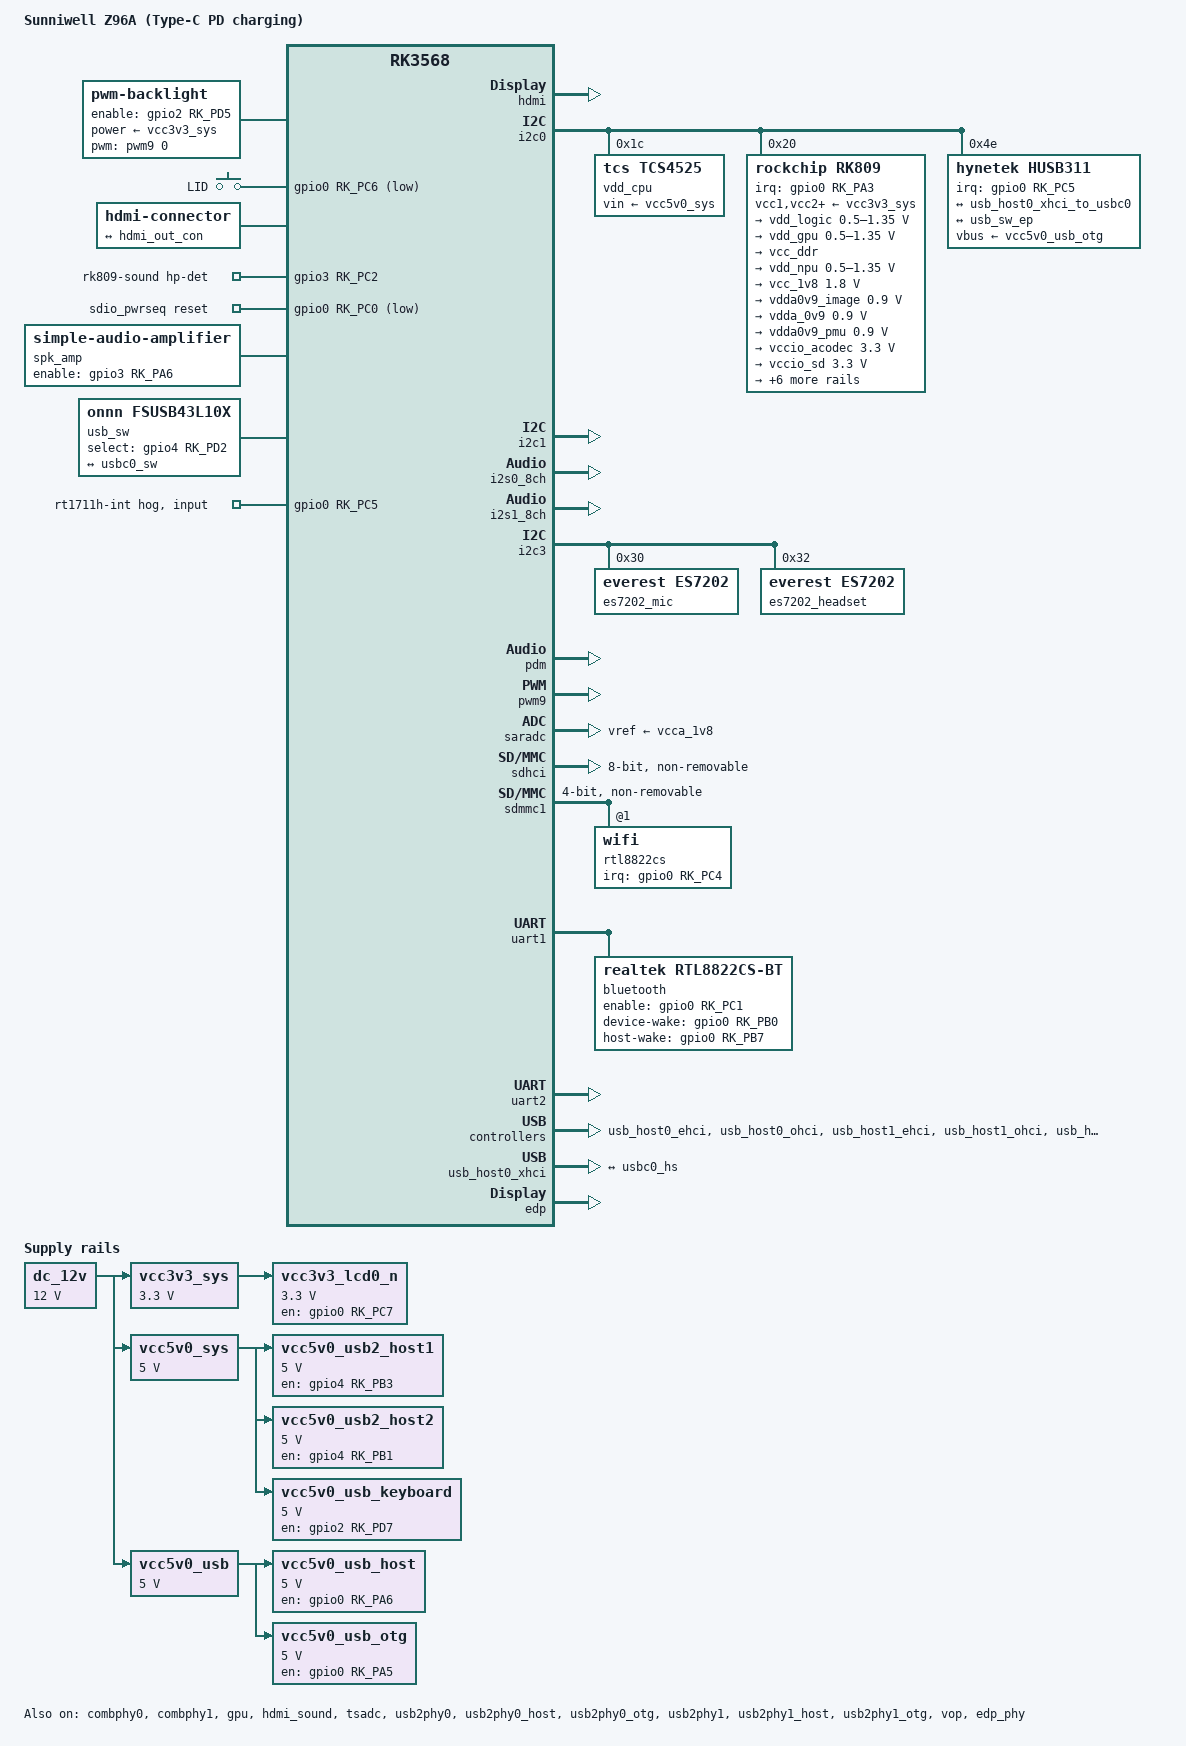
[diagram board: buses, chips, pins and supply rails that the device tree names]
// SPDX-License-Identifier: (GPL-2.0+ OR MIT)
// Copyright (c) 2026 Jun Yan <jerrysteve1101@gmail.com>

/dts-v1/;

#include <dt-bindings/gpio/gpio.h>
#include <dt-bindings/input/gpio-keys.h>
#include <dt-bindings/input/linux-event-codes.h>
#include <dt-bindings/phy/phy.h>
#include <dt-bindings/pinctrl/rockchip.h>
#include <dt-bindings/soc/rockchip,vop2.h>
#include <dt-bindings/usb/pd.h>
#include "rk3568.dtsi"

/ {
	model = "Sunniwell Z96A (Type-C PD charging)";
	compatible = "sunniwell,z96a-pd", "rockchip,rk3568";

	aliases {
		mmc0 = &sdhci;
		mmc1 = &sdmmc1;
		serial0 = &uart2;
	};

	backlight: backlight {
		compatible = "pwm-backlight";
		brightness-levels = <20 220>;
		default-brightness-level = <200>;
		enable-gpios = <&gpio2 RK_PD5 GPIO_ACTIVE_HIGH>;
		num-interpolated-steps = <200>;
		power-supply = <&vcc3v3_sys>;
		pwms = <&pwm9 0 25000 0>;
	};

	chosen: chosen {
		stdout-path = "serial2:1500000n8";
	};

	dc_12v: regulator-dc-12v {
		compatible = "regulator-fixed";
		regulator-name = "dc_12v";
		regulator-always-on;
		regulator-boot-on;
		regulator-min-microvolt = <12000000>;
		regulator-max-microvolt = <12000000>;
	};

	gpio_keys_hall: gpio-keys-hall {
		compatible = "gpio-keys";
		pinctrl-names = "default";
		pinctrl-0 = <&hall_int_l>;

		lid-switch {
			gpios = <&gpio0 RK_PC6 GPIO_ACTIVE_LOW>;
			label = "LID";
			linux,code = <SW_LID>;
			linux,input-type = <EV_SW>;
			wakeup-event-action = <EV_ACT_DEASSERTED>;
			wakeup-source;
		};
	};

	hdmi-con {
		compatible = "hdmi-connector";
		type = "a";

		port {
			hdmi_con_in: endpoint {
				remote-endpoint = <&hdmi_out_con>;
			};
		};
	};

	rk809-sound {
		compatible = "simple-audio-card";
		pinctrl-names = "default";
		pinctrl-0 = <&hp_det>;
		simple-audio-card,aux-devs = <&spk_amp>;
		simple-audio-card,format = "i2s";
		simple-audio-card,hp-det-gpios = <&gpio3 RK_PC2 GPIO_ACTIVE_HIGH>;
		simple-audio-card,mclk-fs = <256>;
		simple-audio-card,name = "Analog RK809";
		simple-audio-card,routing =
			"Headphones", "HPOL",
			"Headphones", "HPOR",
			"Speaker Amp INL", "HPOL",
			"Speaker Amp INR", "HPOR",
			"Internal Speakers", "Speaker Amp OUTL",
			"Internal Speakers", "Speaker Amp OUTR";
		simple-audio-card,widgets =
			"Headphone", "Headphones",
			"Speaker", "Internal Speakers";

		simple-audio-card,cpu {
			sound-dai = <&i2s1_8ch>;
		};
		simple-audio-card,codec {
			sound-dai = <&rk809>;
		};
	};

	es7202_sound: es7202-sound {
		compatible = "simple-audio-card";
		simple-audio-card,name = "ES7202";
		simple-audio-card,format = "pdm";
		simple-audio-card,mclk-fs = <256>;

		simple-audio-card,cpu {
			sound-dai = <&pdm>;
		};
		simple-audio-card,codec {
			sound-dai = <&es7202_mic>;
		};
	};

	sdio_pwrseq: sdio-pwrseq {
		compatible = "mmc-pwrseq-simple";
		clocks = <&rk809 1>;
		clock-names = "ext_clock";
		pinctrl-names = "default";
		pinctrl-0 = <&wifi_enable_h>;
		post-power-on-delay-ms = <100>;
		power-off-delay-us = <5000000>;
		reset-gpios = <&gpio0 RK_PC0 GPIO_ACTIVE_LOW>;
	};

	spk_amp: speaker-amplifier {
		compatible = "simple-audio-amplifier";
		enable-gpios = <&gpio3 RK_PA6 GPIO_ACTIVE_HIGH>;
		pinctrl-names = "default";
		pinctrl-0 = <&spk_amp_en>;
		sound-name-prefix = "Speaker Amp";
	};

	vcc3v3_lcd0_n: regulator-vcc3v3-lcd0-n {
		compatible = "regulator-fixed";
		enable-active-high;
		gpio = <&gpio0 RK_PC7 GPIO_ACTIVE_HIGH>;
		pinctrl-names = "default";
		pinctrl-0 = <&vcc3v3_lcd0_n_en>;
		regulator-name = "vcc3v3_lcd0_n";
		regulator-boot-on;
		regulator-min-microvolt = <3300000>;
		regulator-max-microvolt = <3300000>;
		vin-supply = <&vcc3v3_sys>;

		regulator-state-mem {
			regulator-off-in-suspend;
		};
	};

	vcc3v3_sys: regulator-vcc3v3-sys {
		compatible = "regulator-fixed";
		regulator-name = "vcc3v3_sys";
		regulator-always-on;
		regulator-boot-on;
		regulator-min-microvolt = <3300000>;
		regulator-max-microvolt = <3300000>;
		vin-supply = <&dc_12v>;
	};

	vcc5v0_sys: regulator-vcc5v0-sys {
		compatible = "regulator-fixed";
		regulator-name = "vcc5v0_sys";
		regulator-always-on;
		regulator-boot-on;
		regulator-min-microvolt = <5000000>;
		regulator-max-microvolt = <5000000>;
		vin-supply = <&dc_12v>;
	};

	vcc5v0_usb: regulator-vcc5v0-usb {
		compatible = "regulator-fixed";
		regulator-name = "vcc5v0_usb";
		regulator-always-on;
		regulator-boot-on;
		regulator-min-microvolt = <5000000>;
		regulator-max-microvolt = <5000000>;
		vin-supply = <&dc_12v>;
	};

	vcc5v0_usb_host: regulator-vcc5v0-usb-host {
		compatible = "regulator-fixed";
		enable-active-high;
		gpio = <&gpio0 RK_PA6 GPIO_ACTIVE_HIGH>;
		pinctrl-names = "default";
		pinctrl-0 = <&vcc5v0_usb_host_en>;
		regulator-name = "vcc5v0_usb_host";
		regulator-min-microvolt = <5000000>;
		regulator-max-microvolt = <5000000>;
		vin-supply = <&vcc5v0_usb>;
	};

	vcc5v0_usb_otg: regulator-vcc5v0-usb-otg {
		compatible = "regulator-fixed";
		enable-active-high;
		gpio = <&gpio0 RK_PA5 GPIO_ACTIVE_HIGH>;
		pinctrl-names = "default";
		pinctrl-0 = <&vcc5v0_usb_otg_en>;
		regulator-name = "vcc5v0_usb_otg";
		regulator-min-microvolt = <5000000>;
		regulator-max-microvolt = <5000000>;
		vin-supply = <&vcc5v0_usb>;
	};

	vcc5v0_usb2_host1: regulator-vcc5v0-usb2-host1 {
		compatible = "regulator-fixed";
		enable-active-high;
		gpio = <&gpio4 RK_PB3 GPIO_ACTIVE_HIGH>;
		pinctrl-names = "default";
		pinctrl-0 = <&vcc5v0_usb2_host1_en>;
		regulator-name = "vcc5v0_usb2_host1";
		regulator-always-on;
		regulator-boot-on;
		regulator-min-microvolt = <5000000>;
		regulator-max-microvolt = <5000000>;
		vin-supply = <&vcc5v0_sys>;
	};

	vcc5v0_usb2_host2: regulator-vcc5v0-usb2-host2 {
		compatible = "regulator-fixed";
		enable-active-high;
		gpio = <&gpio4 RK_PB1 GPIO_ACTIVE_HIGH>;
		pinctrl-names = "default";
		pinctrl-0 = <&vcc5v0_usb2_host2_en>;
		regulator-name = "vcc5v0_usb2_host2";
		regulator-always-on;
		regulator-boot-on;
		regulator-min-microvolt = <5000000>;
		regulator-max-microvolt = <5000000>;
		vin-supply = <&vcc5v0_sys>;
	};

	vcc5v0_usb_keyboard: regulator-vcc5v0-usb-keyboard {
		compatible = "regulator-fixed";
		enable-active-high;
		gpio = <&gpio2 RK_PD7 GPIO_ACTIVE_HIGH>;
		pinctrl-names = "default";
		pinctrl-0 = <&vcc5v0_usb_keyboard_en>;
		regulator-name = "vcc5v0_usb_keyboard";
		regulator-always-on;
		regulator-boot-on;
		regulator-min-microvolt = <5000000>;
		regulator-max-microvolt = <5000000>;
		vin-supply = <&vcc5v0_sys>;
	};

	/*
	 * USB 3.1 SuperSpeed signal switch (ON Semi FSUSB43L10X) between the
	 * Type-C connector and the USB3 controller. Its select input (GPIO4_D2)
	 * is driven by the tcpm as an orientation switch: the SS lanes are
	 * swapped depending on which way the plug is inserted.
	 */
	usb_sw: usb-switch {
		compatible = "onnn,fsusb43l10x", "gpio-sbu-mux";
		select-gpios = <&gpio4 RK_PD2 GPIO_ACTIVE_HIGH>;
		orientation-switch;

		port {
			usb_sw_ep: endpoint {
				remote-endpoint = <&usbc0_sw>;
			};
		};
	};
};

&combphy0 {
	status = "okay";
};

&combphy1 {
	status = "okay";
};

&cpu0 {
	cpu-supply = <&vdd_cpu>;
};

&cpu1 {
	cpu-supply = <&vdd_cpu>;
};

&cpu2 {
	cpu-supply = <&vdd_cpu>;
};

&cpu3 {
	cpu-supply = <&vdd_cpu>;
};

&gpu {
	mali-supply = <&vdd_gpu>;

	status = "okay";
};

/*
 * RKNPU @ fde40000: no mainline driver for RK3568, not enabled.
 */

&hdmi {
	avdd-0v9-supply = <&vdda0v9_image>;
	avdd-1v8-supply = <&vcca1v8_image>;

	status = "okay";
};

&hdmi_in {
	hdmi_in_vp0: endpoint {
		remote-endpoint = <&vp0_out_hdmi>;
	};
};

&hdmi_out {
	hdmi_out_con: endpoint {
		remote-endpoint = <&hdmi_con_in>;
	};
};

&hdmi_sound {
	status = "okay";
};

&i2c0 {
	status = "okay";

	vdd_cpu: regulator@1c {
		compatible = "tcs,tcs4525";
		reg = <0x1c>;
		fcs,suspend-voltage-selector = <1>;
		regulator-name = "vdd_cpu";
		regulator-always-on;
		regulator-boot-on;
		regulator-min-microvolt = <712500>;
		regulator-max-microvolt = <1387500>;
		regulator-ramp-delay = <2300>;
		vin-supply = <&vcc5v0_sys>;

		regulator-state-mem {
			regulator-off-in-suspend;
		};
	};

	rk809: pmic@20 {
		compatible = "rockchip,rk809";
		reg = <0x20>;
		interrupt-parent = <&gpio0>;
		interrupts = <RK_PA3 IRQ_TYPE_LEVEL_LOW>;
		assigned-clocks = <&cru I2S1_MCLKOUT_TX>;
		assigned-clock-parents = <&cru CLK_I2S1_8CH_TX>;
		#clock-cells = <1>;
		clock-names = "mclk";
		clocks = <&cru I2S1_MCLKOUT_TX>;
		pinctrl-names = "default";
		pinctrl-0 = <&pmic_int>, <&i2s1m0_mclk>;
		system-power-controller;
		#sound-dai-cells = <0>;
		vcc1-supply = <&vcc3v3_sys>;
		vcc2-supply = <&vcc3v3_sys>;
		vcc3-supply = <&vcc3v3_sys>;
		vcc4-supply = <&vcc3v3_sys>;
		vcc5-supply = <&vcc3v3_sys>;
		vcc6-supply = <&vcc3v3_sys>;
		vcc7-supply = <&vcc3v3_sys>;
		vcc8-supply = <&vcc3v3_sys>;
		vcc9-supply = <&vcc3v3_sys>;
		wakeup-source;

		regulators {
			vdd_logic: DCDC_REG1 {
				regulator-name = "vdd_logic";
				regulator-always-on;
				regulator-boot-on;
				regulator-initial-mode = <0x2>;
				regulator-min-microvolt = <500000>;
				regulator-max-microvolt = <1350000>;
				regulator-ramp-delay = <6001>;

				regulator-state-mem {
					regulator-off-in-suspend;
				};
			};

			vdd_gpu: DCDC_REG2 {
				regulator-name = "vdd_gpu";
				regulator-always-on;
				regulator-boot-on;
				regulator-initial-mode = <0x2>;
				regulator-min-microvolt = <500000>;
				regulator-max-microvolt = <1350000>;
				regulator-ramp-delay = <6001>;

				regulator-state-mem {
					regulator-off-in-suspend;
				};
			};

			vcc_ddr: DCDC_REG3 {
				regulator-name = "vcc_ddr";
				regulator-always-on;
				regulator-boot-on;
				regulator-initial-mode = <0x2>;

				regulator-state-mem {
					regulator-on-in-suspend;
				};
			};

			vdd_npu: DCDC_REG4 {
				regulator-name = "vdd_npu";
				regulator-always-on;
				regulator-boot-on;
				regulator-initial-mode = <0x2>;
				regulator-min-microvolt = <500000>;
				regulator-max-microvolt = <1350000>;
				regulator-ramp-delay = <6001>;

				regulator-state-mem {
					regulator-off-in-suspend;
				};
			};

			vcc_1v8: DCDC_REG5 {
				regulator-name = "vcc_1v8";
				regulator-always-on;
				regulator-boot-on;
				regulator-min-microvolt = <1800000>;
				regulator-max-microvolt = <1800000>;

				regulator-state-mem {
					regulator-off-in-suspend;
				};
			};

			vdda0v9_image: LDO_REG1 {
				regulator-name = "vdda0v9_image";
				regulator-min-microvolt = <900000>;
				regulator-max-microvolt = <900000>;

				regulator-state-mem {
					regulator-off-in-suspend;
				};
			};

			vdda_0v9: LDO_REG2 {
				regulator-name = "vdda_0v9";
				regulator-always-on;
				regulator-boot-on;
				regulator-min-microvolt = <900000>;
				regulator-max-microvolt = <900000>;

				regulator-state-mem {
					regulator-off-in-suspend;
				};
			};

			vdda0v9_pmu: LDO_REG3 {
				regulator-name = "vdda0v9_pmu";
				regulator-always-on;
				regulator-boot-on;
				regulator-min-microvolt = <900000>;
				regulator-max-microvolt = <900000>;

				regulator-state-mem {
					regulator-on-in-suspend;
					regulator-suspend-microvolt = <900000>;
				};
			};

			vccio_acodec: LDO_REG4 {
				regulator-name = "vccio_acodec";
				regulator-always-on;
				regulator-boot-on;
				regulator-min-microvolt = <3300000>;
				regulator-max-microvolt = <3300000>;

				regulator-state-mem {
					regulator-off-in-suspend;
				};
			};

			vccio_sd: LDO_REG5 {
				regulator-name = "vccio_sd";
				regulator-always-on;
				regulator-boot-on;
				regulator-min-microvolt = <3300000>;
				regulator-max-microvolt = <3300000>;

				regulator-state-mem {
					regulator-off-in-suspend;
				};
			};

			vcc3v3_pmu: LDO_REG6 {
				regulator-name = "vcc3v3_pmu";
				regulator-always-on;
				regulator-boot-on;
				regulator-min-microvolt = <3300000>;
				regulator-max-microvolt = <3300000>;

				regulator-state-mem {
					regulator-on-in-suspend;
					regulator-suspend-microvolt = <3300000>;
				};
			};

			vcca_1v8: LDO_REG7 {
				regulator-name = "vcca_1v8";
				regulator-always-on;
				regulator-boot-on;
				regulator-min-microvolt = <1800000>;
				regulator-max-microvolt = <1800000>;

				regulator-state-mem {
					regulator-off-in-suspend;
				};
			};

			vcca1v8_pmu: LDO_REG8 {
				regulator-name = "vcca1v8_pmu";
				regulator-always-on;
				regulator-boot-on;
				regulator-min-microvolt = <1800000>;
				regulator-max-microvolt = <1800000>;

				regulator-state-mem {
					regulator-on-in-suspend;
					regulator-suspend-microvolt = <1800000>;
				};
			};

			vcca1v8_image: LDO_REG9 {
				regulator-name = "vcca1v8_image";
				regulator-min-microvolt = <1800000>;
				regulator-max-microvolt = <1800000>;

				regulator-state-mem {
					regulator-off-in-suspend;
				};
			};

			vcc_3v3: SWITCH_REG1 {
				regulator-name = "vcc_3v3";
				regulator-always-on;
				regulator-boot-on;

				regulator-state-mem {
					regulator-off-in-suspend;
				};
			};

			vcc3v3_sd: SWITCH_REG2 {
				regulator-name = "vcc3v3_sd";

				regulator-state-mem {
					regulator-off-in-suspend;
				};
			};
		};
	};

	husb311: typec@4e {
		compatible = "hynetek,husb311", "richtek,rt1711h";
		reg = <0x4e>;
		interrupt-parent = <&gpio0>;
		interrupts = <RK_PC5 IRQ_TYPE_LEVEL_LOW>;
		pinctrl-names = "default";
		pinctrl-0 = <&fusb0_int>;
		vbus-supply = <&vcc5v0_usb_otg>;

		usb_con: connector {
			compatible = "usb-c-connector";
			label = "USB-C";
			data-role = "dual";
			power-role = "dual";
			try-power-role = "source";
			source-pdos = <PDO_FIXED(5000, 2000, PDO_FIXED_DUAL_ROLE | PDO_FIXED_DATA_SWAP)>;
			sink-pdos = <PDO_FIXED(5000, 2000, PDO_FIXED_DUAL_ROLE | PDO_FIXED_DATA_SWAP)>;
			op-sink-microwatt = <10000000>;

			ports {
				#address-cells = <1>;
				#size-cells = <0>;

				port@0 {
					reg = <0>;
					usbc0_hs: endpoint {
						remote-endpoint = <&usb_host0_xhci_to_usbc0>;
					};
				};

				port@1 {
					reg = <1>;
					usbc0_sw: endpoint {
						remote-endpoint = <&usb_sw_ep>;
					};
				};
			};
		};
	};

	/*
	 * Southchip SC8886 battery charger @ 0x6b (I2C0): no mainline
	 * driver, not enabled (charging handled by vendor firmware only).
	 */
};

&i2c1 {
	status = "okay";
};

&i2s0_8ch {
	status = "okay";
};

&i2s1_8ch {
	rockchip,trcm-sync-tx-only;
	pinctrl-0 = <&i2s1m0_sclktx
		     &i2s1m0_lrcktx
		     &i2s1m0_sdi0
		     &i2s1m0_sdo0>;

	status = "okay";
};

&i2c3 {
	status = "okay";

	es7202_mic: codec@30 {
		compatible = "everest,es7202";
		reg = <0x30>;
		#sound-dai-cells = <0>;
	};

	es7202_headset: codec@32 {
		compatible = "everest,es7202";
		reg = <0x32>;
		#sound-dai-cells = <0>;
	};
};

&pdm {
	pinctrl-0 = <&pdmm0_clk1
		     &pdmm0_sdi1
		     &pdmm0_sdi3>;
	/* ES7202 mic is on sdi1 (channel 0), headset on sdi3 (channel 1) */
	rockchip,path-map = <1 3 0 2>;
	status = "okay";
};

&pinctrl {
	amp {
		spk_amp_en: spk-amp-en {
			rockchip,pins = <3 RK_PA6 RK_FUNC_GPIO &pcfg_pull_up>;
		};
	};

	display {
		vcc3v3_lcd0_n_en: vcc3v3-lcd0-n-en {
			rockchip,pins = <0 RK_PC7 RK_FUNC_GPIO &pcfg_pull_none>;
		};
	};

	hall-sensor {
		hall_int_l: hall-int-l {
			rockchip,pins = <0 RK_PC6 RK_FUNC_GPIO &pcfg_pull_up>;
		};
	};

	hp-detect {
		hp_det: hp-det {
			rockchip,pins = <3 RK_PC2 RK_FUNC_GPIO &pcfg_pull_none>;
		};
	};

	pmic {
		pmic_int: pmic-int {
			rockchip,pins = <0 RK_PA3 RK_FUNC_GPIO &pcfg_pull_up>;
		};
	};

	sdio-pwrseq {
		wifi_enable_h: wifi-enable-h {
			rockchip,pins = <0 RK_PC0 RK_FUNC_GPIO &pcfg_pull_none>;
		};
	};

	typec {
		fusb0_int: fusb0-int {
			rockchip,pins = <0 RK_PC5 RK_FUNC_GPIO &pcfg_pull_up>;
		};
	};

	usb {
		vcc5v0_usb_host_en: vcc5v0-usb-host-en {
			rockchip,pins = <0 RK_PA6 RK_FUNC_GPIO &pcfg_pull_none>;
		};
		vcc5v0_usb_otg_en: vcc5v0-usb-otg-en {
			rockchip,pins = <0 RK_PA5 RK_FUNC_GPIO &pcfg_pull_none>;
		};
		vcc5v0_usb2_host1_en: vcc5v0-usb2-host1-en {
			rockchip,pins = <4 RK_PB3 RK_FUNC_GPIO &pcfg_pull_none>;
		};
		vcc5v0_usb2_host2_en: vcc5v0-usb2-host2-en {
			rockchip,pins = <4 RK_PB1 RK_FUNC_GPIO &pcfg_pull_none>;
		};
		vcc5v0_usb_keyboard_en: vcc5v0-usb-keyboard-en {
			rockchip,pins = <2 RK_PD7 RK_FUNC_GPIO &pcfg_pull_none>;
		};
	};

	wireless-bluetooth {
		bt_enable_h: bt-enable-h {
			rockchip,pins = <0 RK_PC1 RK_FUNC_GPIO &pcfg_pull_none>;
		};
		bt_host_wake: bt-host-wake {
			rockchip,pins = <0 RK_PB7 RK_FUNC_GPIO &pcfg_pull_none>;
		};
		bt_wake: bt-wake {
			rockchip,pins = <0 RK_PB0 RK_FUNC_GPIO &pcfg_pull_none>;
		};
	};
};

&pmu_io_domains {
	pmuio2-supply = <&vcca1v8_pmu>;
	vccio1-supply = <&vccio_acodec>;
	vccio3-supply = <&vccio_sd>;
	vccio4-supply = <&vcca1v8_pmu>;
	vccio5-supply = <&vcc_1v8>;
	vccio6-supply = <&vcc_1v8>;
	vccio7-supply = <&vcc_3v3>;

	status = "okay";
};

&pwm9 {
	status = "okay";
};

&saradc {
	vref-supply = <&vcca_1v8>;

	status = "okay";
};

&sdhci {
	bus-width = <8>;
	max-frequency = <200000000>;
	non-removable;
	pinctrl-names = "default";
	pinctrl-0 = <&emmc_bus8 &emmc_clk &emmc_cmd &emmc_datastrobe>;

	status = "okay";
};

&sdmmc1 {
	#address-cells = <1>;
	#size-cells = <0>;
	bus-width = <4>;
	cap-sd-highspeed;
	cap-sdio-irq;
	disable-wp;
	keep-power-in-suspend;
	mmc-pwrseq = <&sdio_pwrseq>;
	non-removable;
	pinctrl-names = "default";
	pinctrl-0 = <&sdmmc1_bus4 &sdmmc1_clk &sdmmc1_cmd>;
	sd-uhs-sdr104;

	status = "okay";

	rtl8822cs: wifi@1 {
		reg = <1>;
		interrupt-parent = <&gpio0>;
		interrupts = <RK_PC4 IRQ_TYPE_LEVEL_HIGH>;
		interrupt-names = "host-wake";
	};
};

&tsadc {
	rockchip,hw-tshut-mode = <1>;
	rockchip,hw-tshut-polarity = <0>;

	status = "okay";
};

&uart1 {
	dma-names = "tx", "rx";
	pinctrl-names = "default";
	pinctrl-0 = <&uart1m0_xfer &uart1m0_ctsn &uart1m0_rtsn>;
	uart-has-rtscts;

	status = "okay";

	bluetooth {
		compatible = "realtek,rtl8822cs-bt";
		enable-gpios = <&gpio0 RK_PC1 GPIO_ACTIVE_HIGH>;
		device-wake-gpios = <&gpio0 RK_PB0 GPIO_ACTIVE_HIGH>;
		host-wake-gpios = <&gpio0 RK_PB7 GPIO_ACTIVE_HIGH>;
		pinctrl-names = "default";
		pinctrl-0 = <&bt_enable_h &bt_host_wake &bt_wake>;
	};
};

&uart2 {
	status = "okay";
};

&usb2phy0 {
	status = "okay";
};

&usb2phy0_host {
	phy-supply = <&vcc5v0_usb_host>;

	status = "okay";
};

&usb2phy0_otg {
	status = "okay";
};

&usb2phy1 {
	status = "okay";
};

&usb2phy1_host {
	phy-supply = <&vcc5v0_usb_host>;

	status = "okay";
};

&usb2phy1_otg {
	phy-supply = <&vcc5v0_usb_host>;

	status = "okay";
};

&usb_host0_ehci {
	status = "okay";
};

&usb_host0_ohci {
	status = "okay";
};

&usb_host0_xhci {
	/*
	 * Type-C data port (husb311/tcpm) with OTG role switch. The
	 * "usb-role-switch" property makes dwc3_drd_init() register a
	 * usb_role_switch that the tcpm drives over the port graph below
	 * (connector port@0 -> usb_host0_xhci_to_usbc0). Without it the dwc3
	 * falls back to the hardware OTG FSM (ID-pin detection), which does not
	 * work on a Type-C port, so the plugged device never enumerates.
	 *
	 * "role-switch-default-mode = host" keeps the controller in host role
	 * while USB_ROLE_NONE is set (i.e. on every unplug). With the default
	 * "peripheral", each unplug tears down and re-probes the whole xHCI
	 * controller (host -> device -> host), which leaves the USB3 PHY out of
	 * sync and the next plug fails enumeration ("connect-debounce failed").
	 * The controller still switches to gadget when a USB host is attached
	 * (data role device), so OTG is preserved.
	 */
	usb-role-switch;
	role-switch-default-mode = "host";

	status = "okay";

	port {
		usb_host0_xhci_to_usbc0: endpoint {
			remote-endpoint = <&usbc0_hs>;
		};
	};
};

&usb_host1_ehci {
	status = "okay";
};

&usb_host1_ohci {
	status = "okay";
};

&usb_host1_xhci {
	status = "okay";
};

&vop {
	assigned-clocks = <&cru DCLK_VOP0>, <&cru PLL_VPLL>, <&cru DCLK_VOP1>;
	assigned-clock-parents = <&pmucru PLL_HPLL>, <&xin24m>, <&cru PLL_VPLL>;
	assigned-clock-rates = <0>, <132000000>, <132000000>;

	status = "okay";
};

&vop_mmu {
	status = "okay";
};

&vp0 {
	vp0_out_hdmi: endpoint@ROCKCHIP_VOP2_EP_HDMI0 {
		reg = <ROCKCHIP_VOP2_EP_HDMI0>;
		remote-endpoint = <&hdmi_in_vp0>;
	};
};

&vp1 {
	vp1_out_edp: endpoint@ROCKCHIP_VOP2_EP_EDP0 {
		reg = <ROCKCHIP_VOP2_EP_EDP0>;
		remote-endpoint = <&edp_in_vp1>;
	};
};

&edp_phy {
	status = "okay";
};

&edp {
	force-hpd;
	status = "okay";

	aux-bus {
		panel: panel {
			compatible = "edp-panel";
			backlight = <&backlight>;
			power-supply = <&vcc3v3_lcd0_n>;
			no-hpd;

			port {
				panel_in_edp: endpoint {
					remote-endpoint = <&edp_out_panel>;
				};
			};
		};
	};
};

&edp_in {
	edp_in_vp1: endpoint {
		remote-endpoint = <&vp1_out_edp>;
	};
};

&edp_out {
	edp_out_panel: endpoint {
		remote-endpoint = <&panel_in_edp>;
	};
};

/*
 * The RT1711H INT line (GPIO0_C5) is left as an output by the bootloader,
 * which makes gpiochip_lock_as_irq() refuse to use it as an interrupt source
 * (tcpci_rt1711h probe then fails with -EIO). Hold it as an input so the DDR
 * direction register is input before the driver requests the IRQ.
 */
&gpio0 {
	rt1711h_int_hog: rt1711h-int-hog {
		gpio-hog;
		gpios = <RK_PC5 GPIO_ACTIVE_HIGH>;
		input;
		line-name = "rt1711h-int";
	};
};
